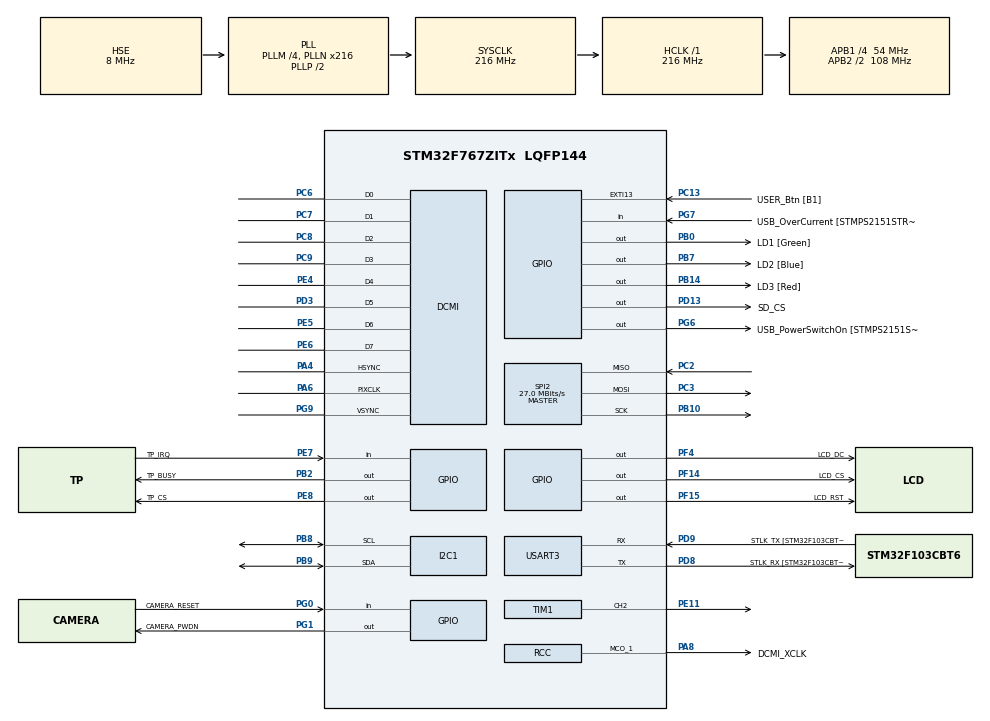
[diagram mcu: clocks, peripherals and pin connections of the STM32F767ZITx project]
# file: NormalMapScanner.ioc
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DCMI.JPEGMode=DCMI_JPEG_ENABLE
DCMI.PCKPolarity=DCMI_PCKPOLARITY_RISING
Dma.DCMI.0.Direction=DMA_PERIPH_TO_MEMORY
Dma.DCMI.0.FIFOMode=DMA_FIFOMODE_ENABLE
Dma.DCMI.0.FIFOThreshold=DMA_FIFO_THRESHOLD_FULL
Dma.DCMI.0.Instance=DMA2_Stream1
Dma.DCMI.0.MemBurst=DMA_MBURST_SINGLE
Dma.DCMI.0.MemDataAlignment=DMA_MDATAALIGN_BYTE
Dma.DCMI.0.MemInc=DMA_MINC_ENABLE
Dma.DCMI.0.Mode=DMA_CIRCULAR
Dma.DCMI.0.PeriphBurst=DMA_PBURST_SINGLE
Dma.DCMI.0.PeriphDataAlignment=DMA_PDATAALIGN_WORD
Dma.DCMI.0.PeriphInc=DMA_PINC_DISABLE
Dma.DCMI.0.Priority=DMA_PRIORITY_VERY_HIGH
Dma.Request0=DCMI
I2C1.Timing=0x20404768
Mcu.Family=STM32F7
Mcu.Name=STM32F767ZITx
Mcu.Package=LQFP144
NVIC.DCMI_IRQn=true\:0\:0\:false\:false\:true\:true\:true\:true
NVIC.DMA2_Stream1_IRQn=true\:0\:0\:false\:false\:true\:false\:true\:true
NVIC.PriorityGroup=NVIC_PRIORITYGROUP_4
PA13.GPIO_Label=TMS
PA13.Mode=Serial_Wire
PA13.Signal=SYS_JTMS-SWDIO
PA14.GPIO_Label=TCK
PA14.Mode=Serial_Wire
PA14.Signal=SYS_JTCK-SWCLK
PA4.Mode=Slave_8_bits_External_Synchro
PA4.Signal=DCMI_HSYNC
PA6.Mode=Slave_8_bits_External_Synchro
PA6.Signal=DCMI_PIXCLK
PA8.GPIO_Label=DCMI_XCLK
PA8.GPIO_Speed=GPIO_SPEED_FREQ_VERY_HIGH
PA8.Mode=Clock-out-1
PA8.Signal=RCC_MCO_1
PB0.GPIO_Label=LD1 [Green]
PB0.Signal=GPIO_Output
PB10.Mode=Full_Duplex_Master
PB10.Signal=SPI2_SCK
PB14.GPIO_Label=LD3 [Red]
PB14.Signal=GPIO_Output
PB2.GPIO_Label=TP_BUSY
PB2.Signal=GPIO_Output
PB3.GPIO_Label=SWO
PB3.Signal=SYS_JTDO-SWO
PB7.GPIO_Label=LD2 [Blue]
PB7.Signal=GPIO_Output
PB8.GPIO_Pu=GPIO_PULLUP
PB8.Mode=I2C
PB8.Signal=I2C1_SCL
PB9.GPIO_Pu=GPIO_PULLUP
PB9.Mode=I2C
PB9.Signal=I2C1_SDA
PC13.GPIO_Label=USER_Btn [B1]
PC13.Signal=GPXTI13
PC14/OSC32_IN.Mode=LSE-External-Oscillator
PC14/OSC32_IN.Signal=RCC_OSC32_IN
PC15/OSC32_OUT.Mode=LSE-External-Oscillator
PC15/OSC32_OUT.Signal=RCC_OSC32_OUT
PC2.Mode=Full_Duplex_Master
PC2.Signal=SPI2_MISO
PC3.Mode=Full_Duplex_Master
PC3.Signal=SPI2_MOSI
PC6.Mode=Slave_8_bits_External_Synchro
PC6.Signal=DCMI_D0
PC7.Mode=Slave_8_bits_External_Synchro
PC7.Signal=DCMI_D1
PC8.Mode=Slave_8_bits_External_Synchro
PC8.Signal=DCMI_D2
PC9.Mode=Slave_8_bits_External_Synchro
PC9.Signal=DCMI_D3
PD13.GPIO_Label=SD_CS
PD13.Signal=GPIO_Output
PD3.Mode=Slave_8_bits_External_Synchro
PD3.Signal=DCMI_D5
PD8.GPIO_Label=STLK_RX [STM32F103CBT6_PA3]
PD8.Mode=Asynchronous
PD8.Signal=USART3_TX
PD9.GPIO_Label=STLK_TX [STM32F103CBT6_PA2]
PD9.Mode=Asynchronous
PD9.Signal=USART3_RX
PE11.Signal=S_TIM1_CH2
PE4.Mode=Slave_8_bits_External_Synchro
PE4.Signal=DCMI_D4
PE5.Mode=Slave_8_bits_External_Synchro
PE5.Signal=DCMI_D6
PE6.Mode=Slave_8_bits_External_Synchro
PE6.Signal=DCMI_D7
PE7.GPIO_Label=TP_IRQ
PE7.Signal=GPIO_Input
PE8.GPIO_Label=TP_CS
PE8.Signal=GPIO_Output
PF14.GPIO_Label=LCD_CS
PF14.Signal=GPIO_Output
PF15.GPIO_Label=LCD_RST
PF15.Signal=GPIO_Output
PF4.GPIO_Label=LCD_DC
PF4.Signal=GPIO_Output
PG0.GPIO_Label=CAMERA_RESET
PG0.Signal=GPIO_Input
PG1.GPIO_Label=CAMERA_PWDN
PG1.Signal=GPIO_Output
PG6.GPIO_Label=USB_PowerSwitchOn [STMPS2151STR_EN]
PG6.Signal=GPIO_Output
PG7.GPIO_Label=USB_OverCurrent [STMPS2151STR_FAULT]
PG7.Signal=GPIO_Input
PG9.Mode=Slave_8_bits_External_Synchro
PG9.Signal=DCMI_VSYNC
PH0/OSC_IN.GPIO_Label=MCO [STM32F103CBT6_PA8]
PH0/OSC_IN.Mode=HSE-External-Clock-Source
PH0/OSC_IN.Signal=RCC_OSC_IN
PH1/OSC_OUT.Mode=HSE-External-Clock-Source
PH1/OSC_OUT.Signal=RCC_OSC_OUT
ProjectManager.HeapSize=0x200
ProjectManager.StackSize=0x400
ProjectManager.TargetToolchain=STM32CubeIDE
RCC.48MHZClocksFreq_Value=24000000
RCC.AHBFreq_Value=216000000
RCC.APB1CLKDivider=RCC_HCLK_DIV4
RCC.APB1Freq_Value=54000000
RCC.APB1TimFreq_Value=108000000
RCC.APB2CLKDivider=RCC_HCLK_DIV2
RCC.APB2Freq_Value=108000000
RCC.APB2TimFreq_Value=216000000
RCC.CortexFreq_Value=216000000
RCC.HCLKFreq_Value=216000000
RCC.HSE_VALUE=8000000
RCC.HSI_VALUE=16000000
RCC.PLLI2SR=4
RCC.PLLM=4
RCC.PLLMUL=RCC_PLL_MUL9
RCC.PLLN=216
RCC.PLLQ=4
RCC.PLLSourceVirtual=RCC_PLLSOURCE_HSE
RCC.PRESCALERUSB=RCC_USBCLKSOURCE_PLL_DIV1_5
RCC.RCC_MCO2Source=RCC_MCO2SOURCE_PLLI2SCLK
RCC.RCC_MCODiv2=RCC_MCODIV_3
RCC.SYSCLKFreq_VALUE=216000000
RCC.SYSCLKSource=RCC_SYSCLKSOURCE_PLLCLK
RCC.SYSCLKSourceVirtual=RCC_SYSCLKSOURCE_PLLCLK
RCC.USBFreq_Value=108000000
RCC.VCOOutputFreq_Value=432000000
SH.S_TIM1_CH2.0=TIM1_CH2,PWM Generation2 CH2
SPI2.BaudRatePrescaler=SPI_BAUDRATEPRESCALER_2
SPI2.CalculateBaudRate=27.0 MBits/s
SPI2.DataSize=SPI_DATASIZE_8BIT
SPI2.Direction=SPI_DIRECTION_2LINES
SPI2.Mode=SPI_MODE_MASTER
SPI2.NSSPMode=SPI_NSS_PULSE_DISABLE
SPI2.VirtualType=VM_MASTER
TIM1.Channel-PWM\ Generation2\ CH2=TIM_CHANNEL_2
TIM1.Period=2160-1
TIM1.Prescaler=1000-1
USART3.VirtualMode-Asynchronous=VM_ASYNC
board=NUCLEO-F767ZI

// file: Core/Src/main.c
/* USER CODE BEGIN Header */
/**
 ******************************************************************************
 * @file           : main.c
 * @brief          : Main program body
 ******************************************************************************
 * @attention
 *
 * Copyright (c) 2022 STMicroelectronics.
 * All rights reserved.
 *
 * This software is licensed under terms that can be found in the
 *LICENSE file in the root directory of this software component. If no
 *LICENSE file comes with this software, it is provided AS-IS.
 *
 ******************************************************************************
 */
/* USER CODE END Header */
#include "main.h"
#include "dcmi.h"
#include "dma.h"
#include "i2c.h"
#include "spi.h"
#include "tim.h"
#include "usart.h"
#include "gpio.h"

/* USER CODE BEGIN Includes */

// LCD
#include "LCD_Driver.h"
#include "LCD_GUI.h"
#include "LCD_Touch.h"

// Camera
//#include "ov2640.h"
#include "TEST_ov2640.h"

#define RES160X120
//#define RES320X240
//#define RES640X480
//#define RES800x600
//#define RES1024x768
//#define RES1280x960

#ifdef RES160X120
enum imageResolution imgRes       = RES_160X120;
uint8_t FRAME_BUFFER[RES_160X120] = {0};
#endif

#ifdef RES320X240
enum imageResolution imgRes       = RES_320X240;
uint8_t FRAME_BUFFER[RES_320X240] = {0};
#endif

#ifdef RES640X480
enum imageResolution imgRes       = RES_640X480;
uint8_t FRAME_BUFFER[RES_640X480] = {0};
#endif

#ifdef RES800x600
enum imageResolution imgRes       = RES_800x600;
uint8_t FRAME_BUFFER[RES_800x600] = {0};
#endif

#ifdef RES1024x768
enum imageResolution imgRes        = RES_1024x768;
uint8_t FRAME_BUFFER[RES_1024x768] = {0};
#endif

#ifdef RES1280x960
enum imageResolution imgRes        = RES_1280x960;
uint8_t FRAME_BUFFER[RES_1280x960] = {0};
#endif

ushort mutex           = 0;
uint16_t bufferPointer = 0;
ushort headerFound     = 0;
//--------------------------------------------------------------

// Other
#include "debug.h"

/* USER CODE END Includes */

/* USER CODE BEGIN PD */

//---------------          GUI          -------------------------
GUI_Window g_window;
/// Declared textboxes
typedef enum
{
    InfoText,
    StatusText,
    StatusValueText,
} TextBoxes;

/// Default GUI with informations about camera status and errors
void initGUI(GUI_Window* w)
{
    w->background              = WHITE;
    GUI_TextBox defaultTextBox = {LCD_X + Font12.Height,
                                  LCD_Y_MAXPIXEL / 5,
                                  LCD_X_MAXPIXEL - Font12.Height,
                                  LCD_Y_MAXPIXEL - Font12.Height,
                                  WHITE,
                                  BLACK,
                                  &Font12,
                                  '\0'};
    uint16_t fontHeight        = defaultTextBox.font->Height;

    // Console
    w->textboxes[InfoText]      = defaultTextBox;
    w->textboxes[InfoText].xEnd = LCD_X_MAXPIXEL / 5;
    w->textboxes[InfoText].yEnd = w->textboxes[InfoText].yPos + fontHeight;
    w->textboxes[InfoText].text = "Console:";

    w->consoles[0].xPos            = w->textboxes[InfoText].xEnd + fontHeight;
    w->consoles[0].yPos            = w->textboxes[InfoText].yPos;
    w->consoles[0].xEnd            = defaultTextBox.xEnd;
    w->consoles[0].yEnd            = w->consoles[0].yPos + fontHeight * 10;
    w->consoles[0].font            = w->textboxes[InfoText].font;
    w->consoles[0].backgroundColor = w->textboxes[InfoText].backgroundColor;
    w->consoles[0].foregroundColor = w->textboxes[InfoText].foregroundColor;

    char* text  = "Console initialized.\n";
    size_t size = strnlen(text, CONSOLE_TEXT_SIZE);
    strncpy(w->consoles->text, text, size);

    // DCMI status
    w->textboxes[StatusText]      = w->textboxes[InfoText];
    w->textboxes[StatusText].yPos = w->consoles[0].yEnd + fontHeight;
    w->textboxes[StatusText].yEnd = w->textboxes[StatusText].yPos + fontHeight;
    w->textboxes[StatusText].text = "DCMI status:";

    w->textboxes[StatusValueText] = w->textboxes[StatusText];
    w->textboxes[StatusValueText].xPos =
        w->textboxes[StatusText].xEnd + fontHeight;
    w->textboxes[StatusValueText].xEnd = defaultTextBox.xEnd;
    w->textboxes[StatusValueText].text = "No status info received yet";
}

//-------------------          Camera          -------------------
// uint8_t FRAME_BUFFER[IMAGE_RESOLUTION_WIDTH * IMAGE_RESOLUTION_HEIGHT];
#define FRAME_BUFFER_SIZE (sizeof(FRAME_BUFFER) / sizeof(char))

/// Refreshes DCMI status information on display
void refreshStatusInfo()
{
    switch (HAL_DCMI_GetState(&hdcmi))
    {
        case HAL_DCMI_STATE_RESET:
        {
            g_window.textboxes[StatusValueText].text =
                "DCMI not yet initialized or disabled.";
            break;
        }
        case HAL_DCMI_STATE_READY:
        {
            g_window.textboxes[StatusValueText].text =
                "DCMI initialized and ready for use.";
            break;
        }
        case HAL_DCMI_STATE_BUSY:
        {
            g_window.textboxes[StatusValueText].text =
                "DCMI internal processing is ongoing.";
            break;
        }
        case HAL_DCMI_STATE_TIMEOUT:
            g_window.textboxes[StatusValueText].text = "DCMI timeout state.";
            break;
        case HAL_DCMI_STATE_ERROR:
            g_window.textboxes[StatusValueText].text = "DCMI error state.";
            break;
        case HAL_DCMI_STATE_SUSPENDED:
            g_window.textboxes[StatusValueText].text = "DCMI suspend state.";
            break;
        default:
            g_window.textboxes[StatusValueText].text = "Unknown state.";
    }
    GUI_RefreshTextBox(&g_window.textboxes[StatusValueText]);
}

int32_t firstNonZeroValue(const uint8_t* array, int32_t size)
{
    for (int32_t i = 0; i < size; ++i)
    {
        if (array[i] != 0U)
            return i;
    }
    return -1;
}
/*
void HAL_DCMI_FrameEventCallback(DCMI_HandleTypeDef* hdcmi)
{
    // NOTE : This function Should not be modified, when the callback
    // is needed, the HAL_DCMI_FrameEventCallback could be implemented in
    // the user file

    // This is the user implementation.

    printInfo("End of shooting\r\n");
    // HAL_UART_DMAStop(&huart1);FF D8 FF E0
    printfInfo("%x  %x  %x  %x\r\n", FRAME_BUFFER[0], FRAME_BUFFER[1],
               FRAME_BUFFER[2], FRAME_BUFFER[3]);

    int32_t index = firstNonZeroValue(FRAME_BUFFER, FRAME_BUFFER_SIZE);
    if (index != -1)
        printInfo("Success\r\n");

    GUI_DrawImage(LCD_X, LCD_Y, FRAME_BUFFER);
}

void HAL_DCMI_ErrorCallback(DCMI_HandleTypeDef* hdcmi)
{
    // NOTE : This function Should not be modified, when the callback
    // is needed, the HAL_DCMI_ErrorCallback could be implemented in
    // the user file
    //
    // This is the user implementation.

    char* text = "Unknown error";
    switch (HAL_DCMI_GetError(hdcmi))
    {
        case HAL_DCMI_ERROR_NONE:
            text = "No error";
            break;
        case HAL_DCMI_ERROR_OVR:
            text = "Overrun error";
            break;
        case HAL_DCMI_ERROR_SYNC:
            text = "Synchronization error";
            break;
        case HAL_DCMI_ERROR_TIMEOUT:
            text = "Timeout error";
            break;
        case HAL_DCMI_ERROR_DMA:
            text = "DMA error";
        default:
            break;
    }

    printfInfo("%s.\r\n", text);
    refreshStatusInfo();
}
*/

/* USER CODE END PD */

void SystemClock_Config(void);

int main(void)
{

  /* MCU Configuration--------------------------------------------------------*/

  /* Reset of all peripherals, Initializes the Flash interface and the Systick. */
  HAL_Init();

  /* Configure the system clock */
  SystemClock_Config();

  /* Initialize all configured peripherals */
  MX_GPIO_Init();
  MX_DCMI_Init();
  MX_SPI2_Init();
  MX_DMA_Init();
  MX_USART3_UART_Init();
  MX_TIM1_Init();
  MX_I2C1_Init();
  /* USER CODE BEGIN 2 */

    // Display setup
    LCD_SCAN_DIR Lcd_ScanDir = SCAN_DIR_DFT; // SCAN_DIR_DFT = D2U_L2R
    LCD_Init(Lcd_ScanDir, 1000);
    initGUI(&g_window);
    GUI_DrawGUI(&g_window);

    // Touch screen setup
    TP_Init(Lcd_ScanDir);
    TP_GetAdFac();

    // Camera setup
    // ov2640Init(hi2c1, hdcmi);
    // HAL_Delay(100);

    OV2640_Init(&hi2c1, &hdcmi);
    HAL_Delay(10);
    OV2640_ResolutionOptions(imgRes);
    HAL_Delay(10);

  /* USER CODE END 2 */

  /* Infinite loop */
  /* USER CODE BEGIN WHILE */
    printInfo("Initialization done.\r\n");
    printInfo("Push Blue Button to make a picture.\r\n");
    while (1)
    {
    /* USER CODE END WHILE */

    /* USER CODE BEGIN 3 */
        /* my version
        if (HAL_GPIO_ReadPin(USER_Btn_GPIO_Port, USER_Btn_Pin) == SET)
        {
            int32_t index = firstNonZeroValue(FRAME_BUFFER, FRAME_BUFFER_SIZE);
            if (index != -1)
                printInfo("Success\n");
            if (HAL_GPIO_ReadPin(USER_Btn_GPIO_Port, USER_Btn_Pin) == SET)
            {
                printInfo("Button pushed.\n");
                refreshStatusInfo();
                HAL_Delay(1000);
                HAL_GPIO_WritePin(LD2_GPIO_Port, LD2_Pin, GPIO_PIN_SET);

                HAL_DCMI_Stop(&hdcmi);
                MX_DCMI_Init();
                __HAL_DCMI_ENABLE_IT(&hdcmi, DCMI_IT_FRAME);
                HAL_DCMI_Start_DMA(&hdcmi, DCMI_MODE_SNAPSHOT,
                                   (uint32_t)&FRAME_BUFFER,
                                   FRAME_BUFFER_SIZE); // Buffer size
                printInfo("DCMI DMA started.\n");
            }
            while (HAL_GPIO_ReadPin(USER_Btn_GPIO_Port, USER_Btn_Pin) == SET)
                HAL_Delay(10);
            HAL_GPIO_WritePin(LD2_GPIO_Port, LD2_Pin, GPIO_PIN_RESET);
            printInfo("Button released, push again to make another shot.\n");
        }*/
        if (HAL_GPIO_ReadPin(USER_Btn_GPIO_Port, USER_Btn_Pin))
        {
            if (mutex == 1)
            {
                memset(FRAME_BUFFER, 0, sizeof FRAME_BUFFER);
                OV2640_CaptureSnapshot((uint32_t)FRAME_BUFFER, imgRes);

                while (1)
                {
                    if (headerFound == 0 &&
                        FRAME_BUFFER[bufferPointer] == 0xFF &&
                        FRAME_BUFFER[bufferPointer + 1] == 0xD8)
                    {
                        headerFound = 1;
                        printInfo("Found header of JPEG file \r\n");
                    }
                    if (headerFound == 1 &&
                        FRAME_BUFFER[bufferPointer] == 0xFF &&
                        FRAME_BUFFER[bufferPointer + 1] == 0xD9)
                    {
                        bufferPointer = bufferPointer + 2;
                        printInfo("Found EOF of JPEG file \r\n");
                        headerFound = 0;
                        break;
                    }

                    if (bufferPointer >= 65535)
                    {
                        break;
                    }
                    bufferPointer++;
                }
                printfInfo("Image size: %d bytes \r\n", bufferPointer);

                HAL_UART_Transmit_DMA(
                    &huart3, FRAME_BUFFER,
                    bufferPointer); // Use of DMA may be necessary for larger
                                    //   data streams.
                bufferPointer = 0;
                mutex         = 0;
            }
        }
        else
        {
            mutex = 1;
        }
    }

  /* USER CODE END 3 */
}

void SystemClock_Config(void)
{
  RCC_OscInitTypeDef RCC_OscInitStruct = {0};
  RCC_ClkInitTypeDef RCC_ClkInitStruct = {0};

  /** Configure LSE Drive Capability
  */
  HAL_PWR_EnableBkUpAccess();

  /** Configure the main internal regulator output voltage
  */
  __HAL_RCC_PWR_CLK_ENABLE();
  __HAL_PWR_VOLTAGESCALING_CONFIG(PWR_REGULATOR_VOLTAGE_SCALE1);

  /** Initializes the RCC Oscillators according to the specified parameters
  * in the RCC_OscInitTypeDef structure.
  */
  RCC_OscInitStruct.OscillatorType = RCC_OSCILLATORTYPE_HSI|RCC_OSCILLATORTYPE_HSE;
  RCC_OscInitStruct.HSEState = RCC_HSE_BYPASS;
  RCC_OscInitStruct.HSIState = RCC_HSI_ON;
  RCC_OscInitStruct.HSICalibrationValue = RCC_HSICALIBRATION_DEFAULT;
  RCC_OscInitStruct.PLL.PLLState = RCC_PLL_ON;
  RCC_OscInitStruct.PLL.PLLSource = RCC_PLLSOURCE_HSE;
  RCC_OscInitStruct.PLL.PLLM = 4;
  RCC_OscInitStruct.PLL.PLLN = 216;
  RCC_OscInitStruct.PLL.PLLP = RCC_PLLP_DIV2;
  RCC_OscInitStruct.PLL.PLLQ = 4;
  RCC_OscInitStruct.PLL.PLLR = 2;
  if (HAL_RCC_OscConfig(&RCC_OscInitStruct) != HAL_OK)
  {
    Error_Handler();
  }

  /** Activate the Over-Drive mode
  */
  if (HAL_PWREx_EnableOverDrive() != HAL_OK)
  {
    Error_Handler();
  }

  /** Initializes the CPU, AHB and APB buses clocks
  */
  RCC_ClkInitStruct.ClockType = RCC_CLOCKTYPE_HCLK|RCC_CLOCKTYPE_SYSCLK
                              |RCC_CLOCKTYPE_PCLK1|RCC_CLOCKTYPE_PCLK2;
  RCC_ClkInitStruct.SYSCLKSource = RCC_SYSCLKSOURCE_PLLCLK;
  RCC_ClkInitStruct.AHBCLKDivider = RCC_SYSCLK_DIV1;
  RCC_ClkInitStruct.APB1CLKDivider = RCC_HCLK_DIV4;
  RCC_ClkInitStruct.APB2CLKDivider = RCC_HCLK_DIV2;

  if (HAL_RCC_ClockConfig(&RCC_ClkInitStruct, FLASH_LATENCY_7) != HAL_OK)
  {
    Error_Handler();
  }
  HAL_RCC_MCOConfig(RCC_MCO1, RCC_MCO1SOURCE_HSI, RCC_MCODIV_1);
}

void Error_Handler(void)
{
  /* USER CODE BEGIN Error_Handler_Debug */
    /* User can add his own implementation to report the HAL error
     * return state */
    __disable_irq();
    while (1)
    {
    }
  /* USER CODE END Error_Handler_Debug */
}

#ifdef  USE_FULL_ASSERT
/**
  * @brief  Reports the name of the source file and the source line number
  *         where the assert_param error has occurred.
  * @param  file: pointer to the source file name
  * @param  line: assert_param error line source number
  * @retval None
  */
void assert_failed(uint8_t *file, uint32_t line)
{
  /* USER CODE BEGIN 6 */
    /* User can add his own implementation to report the file name and
       line number, ex: printf("Wrong parameters value: file %s on
       line %d\r\n", file, line) */
  /* USER CODE END 6 */
}
#endif /* USE_FULL_ASSERT */
